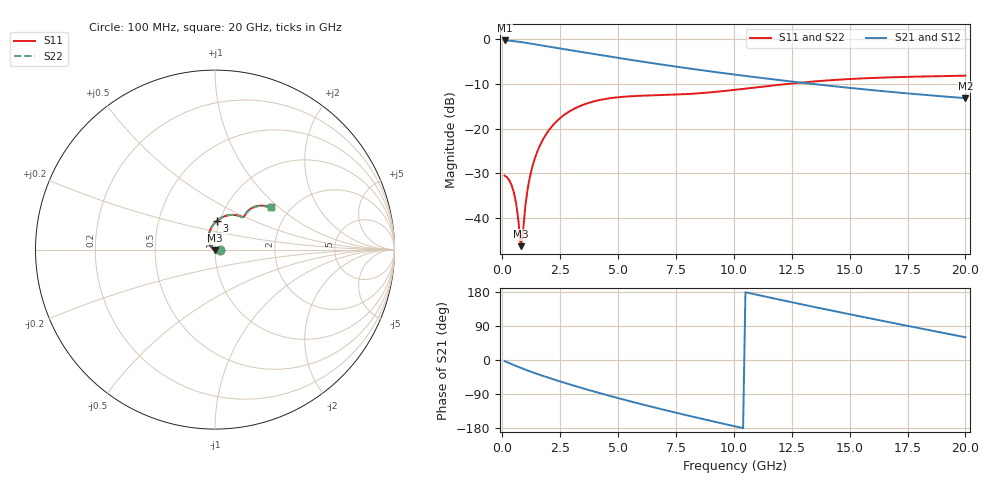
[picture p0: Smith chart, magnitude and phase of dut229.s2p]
! Touchstone file exported from HFSS 2023.1.0
!  File:  D:/Users/fzz/RDL_TSV/temp_RDL_TSV_229_1778758468.aedt
!  Generated:  7:46:37 %x4E0B%x5348  5%x6708 14, 2026
!  Design:  RDL_TSV
!  Project:  temp_RDL_TSV_229_1778758468
!  Setup:  Setup1
!  Solution:  Sweep
! Variables:
!  dtsv = 21.57um
!  hbump = 3um
!  htsv = 72.12um
!  ldown = 445.24um
!  lrdl = 623.82um
!  p = 40
!  p1 = 51.18um
!  rhole = 10um
!  subl = 3831um
!  t = 450um
!  tdown = 5um
!  trdl = 2.18um
!  viad = 10um
!  wdown = 16.39um
!  wrdl = 16.02um
!  xbump = 18um
# GHz S MA R 50.000000
! Terminal data exported
! Port[1] = TM1_1_T1
! Port[2] = TM1_4_T1
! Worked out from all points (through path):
!   200 points, 100 MHz to 20 GHz, reference 50 ohm
!   highest |S21| = -0.27 dB at 100 MHz (marker M1); lowest = -13.2 dB at 20 GHz (marker M2)
!   group delay of S21, straight-line fit = 39.7 ps
!   lowest |S11| = -46.3 dB at 800 MHz (marker M3), VSWR 1.01, Z = 49.9 - j0.47 ohm
!   |S11| at or under -10 dB: start of sweep to 12.31 GHz
!   |S22| runs from -46.3 to -8.2 dB; largest |S21 - S12| = 2.4e-14
!   S11 on the Smith chart (normalised r, x): 100 MHz: 1.06, -0.01; 3 GHz: 0.97, +0.32; 20 GHz: 1.60, +0.89
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0.1  0.02977 -4.7  0.9689 -2.7  0.9689 -2.7  0.02977 -4.7
! Gamma 0 0 0 0
! Port Impedance 50 0 50 0
0.3  0.02651 -15.5  0.9629 -8.1  0.9629 -8.1  0.02651 -15.5
0.5  0.01934 -29.4  0.9524 -13.3  0.9524 -13.3  0.01934 -29.4
0.6  0.01448 -39.1  0.9457 -15.9  0.9457 -15.9  0.01448 -39.1
0.7  0.009141 -55.7  0.9384 -18.4  0.9384 -18.4  0.009141 -55.7
0.8  0.004841 -103.4  0.9304 -20.9  0.9304 -20.9  0.004842 -103.4
0.9  0.007347 -175.0  0.9221 -23.2  0.9221 -23.2  0.007346 -175.0
1  0.01398 161.0  0.9135 -25.6  0.9135 -25.6  0.01398 161.0
1.1  0.02153 149.9  0.9047 -27.9  0.9047 -27.9  0.02153 149.9
1.3  0.03765 136.9  0.8869 -32.4  0.8869 -32.4  0.03765 136.9
1.5  0.05429 127.7  0.8692 -36.7  0.8692 -36.7  0.05429 127.7
1.8  0.07907 116.6  0.8434 -42.9  0.8434 -42.9  0.07907 116.6
2.1  0.1027 107.3  0.8186 -48.9  0.8186 -48.9  0.1027 107.3
3  0.1614 86.1  0.7498 -66.0  0.7498 -66.0  0.1614 86.1
3.5  0.1851 77.2  0.7144 -75.1  0.7144 -75.1  0.1852 77.1
5.1  0.2257 58.1  0.6128 -102.2  0.6128 -102.2  0.2259 58.0
6.8  0.2367 49.8  0.5247 -128.7  0.5247 -128.7  0.237 49.6
8.4  0.2474 48.9  0.458 -152.1  0.458 -152.1  0.2474 48.6
10.1  0.2725 49.6  0.4004 -175.8  0.4004 -175.8  0.272 49.3
13.4  0.3359 46.2  0.3162 140.8  0.3162 140.8  0.3345 45.9
16.7  0.3744 40.3  0.2587 99.9  0.2587 99.9  0.3725 40.1
20  0.3912 37.3  0.2191 60.0  0.2191 60.0  0.3892 37.2
